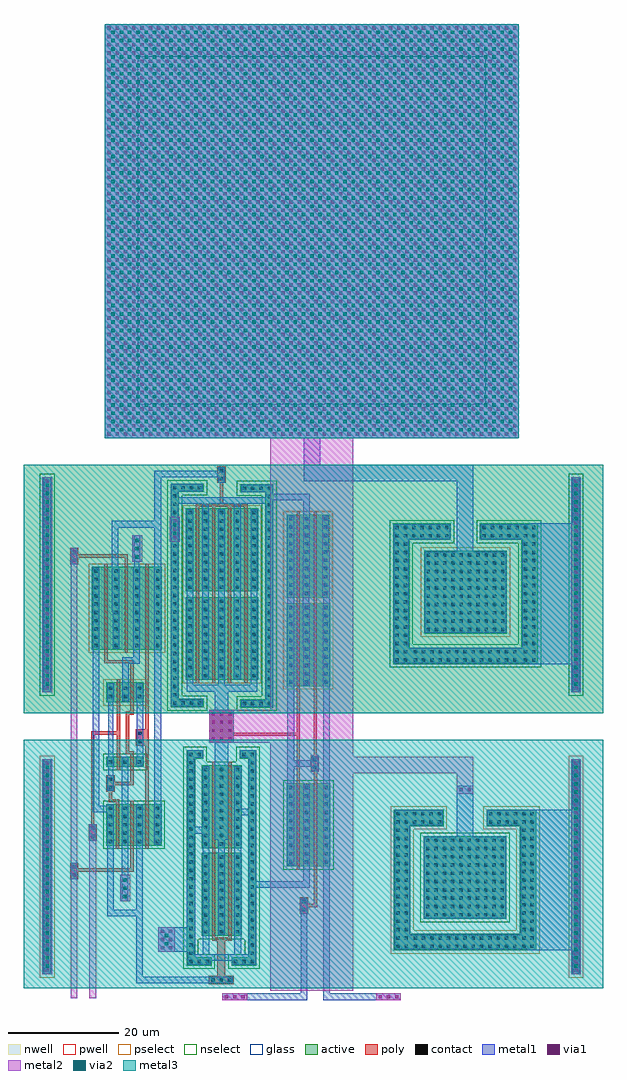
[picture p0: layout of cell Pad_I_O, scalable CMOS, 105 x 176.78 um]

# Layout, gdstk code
import gdstk
lib = gdstk.Library(unit=1e-6, precision=1e-09)
def R(c, l, rs):  # rectangles x0, y0, x1, y1
    for r in rs: c.add(gdstk.rectangle(r[:2], r[2:], *l))
def A(c, l, x, y, w, h, nx, ny, dx, dy):  # array of equal rectangles
    R(c, l, [(x+i*dx, y+j*dy, x+i*dx+w, y+j*dy+h) for i in range(nx) for j in range(ny)])
contact = (25, 0)
pwell = (41, 0)
nwell = (42, 0)
active = (43, 0)
pselect = (44, 0)
nselect = (45, 0)
poly = (46, 0)
metal1 = (49, 0)
via1 = (50, 0)
metal2 = (51, 0)
glass = (52, 0)
via2 = (61, 0)
metal3 = (62, 0)

nact_pwell_diode = lib.new_cell('Nact_PWell_diode')
A(nact_pwell_diode, contact, -12.45, -12.825, 0.6, 0.6, 1, 16, 0, 1.5)
A(nact_pwell_diode, contact, -10.95, -12.825, 0.6, 0.6, 1, 16, 0, 1.5)
A(nact_pwell_diode, contact, -9.3, -12.825, 0.6, 0.6, 13, 2, 1.5, 1.5)
A(nact_pwell_diode, contact, 10.35, -12.825, 0.6, 0.6, 1, 17, 0, 1.5)
A(nact_pwell_diode, contact, 11.85, -12.825, 0.6, 0.6, 1, 16, 0, 1.5)
A(nact_pwell_diode, contact, -7.05, -7.125, 0.6, 0.6, 10, 10, 1.5, 1.5)
A(nact_pwell_diode, contact, -10.95, 9.675, 0.6, 0.6, 5, 1, 1.5, 0)
A(nact_pwell_diode, contact, 4.35, 9.675, 0.6, 0.6, 5, 2, 1.5, 1.5)
A(nact_pwell_diode, contact, -12.45, 11.175, 0.6, 0.6, 6, 1, 1.5, 0)
R(nact_pwell_diode, contact, [(-12.45,9.675,-11.85,10.275), (11.85,9.675,12.45,10.275), (11.85,11.175,12.45,11.775), (11.85,11.175,12.45,11.775)])
R(nact_pwell_diode, pwell, [(-13.8,-14.175,-9,11.625), (-11.1,-14.175,11.1,-9.375), (9,-14.175,13.8,13.125), (-9.3,-9.375,9.3,9.225), (-13.8,8.325,-3,13.125), (3,8.325,13.8,13.125)])
R(nact_pwell_diode, active, [(-12.9,-13.275,-9.9,10.725), (-10.2,-13.275,10.2,-10.275), (9.9,-13.275,12.9,12.225), (-7.5,-7.575,7.5,7.425), (-12.9,9.225,-3.9,12.225), (3.9,9.225,12.9,12.225)])
R(nact_pwell_diode, pselect, [(-13.5,-13.875,-9.3,11.325), (-10.8,-13.875,10.8,-9.675), (9.3,-13.875,13.5,12.825), (-13.5,8.625,-3.3,12.825), (3.3,8.625,13.5,12.825)])
R(nact_pwell_diode, nselect, [(-8.1,-8.175,8.1,8.025)])
R(nact_pwell_diode, metal1, [(-12.75,-13.125,-10.05,10.575), (-10.05,-13.125,10.05,-10.425), (10.05,-13.125,12.75,12.075), (-11.85,-11.85,0.45,-10.95), (-0.45,-11.7,11.85,-10.8), (-7.35,-7.425,7.35,7.275), (-1.5,-0.075,1.5,15.825), (-12.75,9.375,-4.05,12.075), (-11.55,9.375,-10.65,10.275), (4.05,9.375,12.75,12.075), (10.95,9.375,11.85,10.275), (-1.5,15.075,1.5,16.575), (-0.45,15.375,0.45,16.275)])
R(nact_pwell_diode, via1, [(-1.05,15.525,-0.45,16.125), (0.45,15.525,1.05,16.125)])
R(nact_pwell_diode, metal2, [(-1.5,15.075,1.5,16.575), (-0.45,15.375,0.45,16.275)])

pact_nwell_diode = lib.new_cell('Pact_Nwell_diode')
A(pact_nwell_diode, contact, -12.3, -12.75, 0.6, 0.6, 1, 16, 0, 1.5)
A(pact_nwell_diode, contact, -10.8, -12.75, 0.6, 0.6, 1, 17, 0, 1.5)
A(pact_nwell_diode, contact, -9, -12.75, 0.6, 0.6, 13, 2, 1.5, 1.5)
A(pact_nwell_diode, contact, 10.95, -12.75, 0.6, 0.6, 1, 17, 0, 1.5)
A(pact_nwell_diode, contact, 12.45, -12.75, 0.6, 0.6, 1, 16, 0, 1.5)
A(pact_nwell_diode, contact, -6.675, -7.2, 0.6, 0.6, 10, 10, 1.5, 1.5)
A(pact_nwell_diode, contact, -10.8, 9.75, 0.6, 0.6, 6, 2, 1.5, 1.5)
A(pact_nwell_diode, contact, 3.45, 9.75, 0.6, 0.6, 6, 2, 1.5, 1.5)
R(pact_nwell_diode, contact, [(-12.3,9.75,-11.7,10.35), (12.45,9.75,13.05,10.35), (-12.3,11.25,-11.7,11.85), (-12.3,11.25,-11.7,11.85), (12.45,11.25,13.05,11.85), (12.45,11.25,13.05,11.85)])
R(pact_nwell_diode, nwell, [(-13.65,-14.1,-8.85,13.2), (-10.8,-14.1,11.4,-9.3), (9.6,-14.1,14.4,13.2), (-8.925,-9.45,9.675,9.15), (-13.65,8.4,-1.35,13.2), (2.1,8.4,14.4,13.2)])
R(pact_nwell_diode, active, [(-12.75,-13.2,-9.75,12.3), (-9.9,-13.2,10.5,-10.2), (10.5,-13.2,13.5,12.3), (-7.125,-7.65,7.875,7.35), (-12.75,9.3,-2.25,12.3), (3,9.3,13.5,12.3)])
R(pact_nwell_diode, pselect, [(-7.725,-8.25,8.475,7.95)])
R(pact_nwell_diode, nselect, [(-13.35,-13.8,-9.15,12.9), (-10.5,-13.8,11.1,-9.6), (9.9,-13.8,14.1,12.9), (-13.35,8.7,-1.65,12.9), (2.4,8.7,14.1,12.9)])
R(pact_nwell_diode, metal1, [(-12.6,-13.05,-9.9,12.15), (-11.25,-13.05,0.225,-10.35), (-9.75,-13.05,10.35,-10.35), (0.225,-13.05,12,-10.35), (10.65,-13.05,13.35,12.15), (-6.975,-7.5,7.725,7.2), (-1.2,-0.15,1.8,13.95), (-12.6,9.45,-2.4,12.15), (-11.7,9.45,-10.8,10.35), (3.15,9.45,13.35,12.15), (11.55,9.45,12.45,10.35)])

vdd_gnd_bus = lib.new_cell('Vdd_Gnd_bus')
A(vdd_gnd_bus, contact, -47.625, -43.425, 0.6, 0.6, 1, 26, 0, 1.5)
A(vdd_gnd_bus, contact, 48.15, -43.425, 0.6, 0.6, 1, 26, 0, 1.5)
A(vdd_gnd_bus, contact, -47.625, 7.65, 0.6, 0.6, 1, 26, 0, 1.5)
A(vdd_gnd_bus, contact, 48.15, 7.65, 0.6, 0.6, 1, 26, 0, 1.5)
R(vdd_gnd_bus, pwell, [(-51.6,-46.425,53.4,-1.425), (-48.975,-44.775,-45.675,-3.975), (46.8,-44.775,50.1,-3.975)])
R(vdd_gnd_bus, nwell, [(-51.6,3.45,53.4,48.45), (-48.975,6.3,-45.675,47.1), (46.8,6.3,50.1,47.1)])
R(vdd_gnd_bus, active, [(-48.075,-43.875,-46.575,-4.875), (47.7,-43.875,49.2,-4.875), (-48.075,7.2,-46.575,46.2), (47.7,7.2,49.2,46.2)])
R(vdd_gnd_bus, pselect, [(-48.675,-44.475,-45.975,-4.275), (47.1,-44.475,49.8,-4.275)])
R(vdd_gnd_bus, nselect, [(-48.675,6.6,-45.975,46.8), (47.1,6.6,49.8,46.8)])
R(vdd_gnd_bus, metal1, [(-47.925,-43.875,-46.725,-4.875), (47.85,-43.875,49.05,-4.875), (-47.925,-43.725,-46.725,-5.025), (47.85,-43.725,49.05,-5.025), (47.85,-23.475,48.9,-22.575), (-47.7,-16.125,-46.8,-15.225), (-47.925,7.2,-46.725,46.2), (47.85,7.2,49.05,46.2), (-47.925,7.35,-46.725,46.05), (47.85,7.35,49.05,46.05), (47.85,27.15,48.9,28.05), (-47.925,29.55,-46.575,30.45)])
A(vdd_gnd_bus, via1, -47.625, -43.425, 0.6, 0.6, 1, 26, 0, 1.5)
A(vdd_gnd_bus, via1, 48.15, -43.425, 0.6, 0.6, 1, 26, 0, 1.5)
A(vdd_gnd_bus, via1, -47.625, 7.65, 0.6, 0.6, 1, 26, 0, 1.5)
A(vdd_gnd_bus, via1, 48.15, 7.65, 0.6, 0.6, 1, 26, 0, 1.5)
R(vdd_gnd_bus, metal2, [(-48.225,-43.875,-46.425,-4.875), (-47.925,-43.875,-46.725,-4.875), (47.55,-43.875,49.35,-4.875), (47.85,-43.875,49.05,-4.875), (48,-24.975,48.9,-24.075), (-47.7,-20.475,-46.8,-19.575), (-48.225,7.2,-46.425,46.2), (-47.925,7.2,-46.725,46.2), (47.55,7.2,49.35,46.2), (47.85,7.2,49.05,46.2), (48.15,34.65,49.05,35.55), (-47.625,39.15,-46.725,40.05)])
A(vdd_gnd_bus, via2, -47.625, -42.675, 0.6, 0.6, 1, 25, 0, 1.5)
A(vdd_gnd_bus, via2, 48.15, -42.675, 0.6, 0.6, 1, 25, 0, 1.5)
A(vdd_gnd_bus, via2, -47.625, 8.4, 0.6, 0.6, 1, 25, 0, 1.5)
A(vdd_gnd_bus, via2, 48.15, 8.4, 0.6, 0.6, 1, 25, 0, 1.5)
R(vdd_gnd_bus, metal3, [(-51.6,-46.425,53.4,-1.425), (-48.225,-43.875,-46.425,-4.875), (47.55,-43.875,49.35,-4.875), (45.9,-25.275,49.2,-23.775), (-48,-20.775,-43.5,-19.275), (-51.6,3.45,53.4,48.45), (-48.225,7.2,-46.425,46.2), (47.55,7.2,49.35,46.2), (-47.925,34.425,-43.65,35.925), (39.6,37.95,49.2,39.45)])

pad_analog = lib.new_cell('Pad_Analog')
R(pad_analog, metal1, [(39.75,-131.475,48.45,-105.975), (47.85,-119.175,49.05,-117.975), (40.05,-79.65,48.45,-54.15), (47.85,-68.1,49.05,-65.4), (26.85,-54,29.85,-43.5), (-0.9,-46.5,29.85,-43.5), (-0.9,-46.5,2.1,0.3), (-36.9,-38.7,38.1,36.3), (2.85,-1.65,3.75,-0.75), (2.85,-1.65,6.45,-0.75)])
A(pad_analog, via1, -36.45, -38.25, 0.6, 0.6, 50, 50, 1.5, 1.5)
R(pad_analog, via1, [(48.15,-118.875,48.75,-118.275), (48.15,-67.8,48.75,-67.2), (48.15,-66.3,48.75,-65.7)])
R(pad_analog, metal2, [(-6.9,-138.825,8.1,-1.2), (47.85,-119.175,49.05,-117.975), (48,-119.175,48.9,-115.875), (26.85,-102.375,29.85,-97.95), (-0.9,-99.45,29.85,-96.45), (-0.9,-99.45,2.1,0.3), (47.85,-68.1,49.05,-65.4), (48,-67.35,48.9,-64.8), (-36.9,-38.7,38.1,36.3), (-36.9,-38.7,38.1,36.3), (5.55,-1.65,6.9,-0.75)])
R(pad_analog, glass, [(-30.9,-32.55,32.1,30.45)])
A(pad_analog, via2, -35.7, -37.5, 0.6, 0.6, 49, 49, 1.5, 1.5)
R(pad_analog, metal3, [(-36.9,-38.7,38.1,36.3)])
pad_analog.add(gdstk.Reference(nact_pwell_diode, (28.35,-118.2)))
pad_analog.add(gdstk.Reference(pact_nwell_diode, (28.05,-66.45)))
pad_analog.add(gdstk.Reference(vdd_gnd_bus, (0,-91.95)))

pad_i_o = lib.new_cell('Pad_I_O')
A(pad_i_o, contact, -16.425, -81.9, 0.6, 0.6, 3, 1, 1.5, 0)
A(pad_i_o, contact, -20.4, -78.525, 0.6, 0.6, 1, 26, 0, 1.5)
A(pad_i_o, contact, -20.4, -78.525, 0.6, 0.6, 3, 1, 1.5, 0)
A(pad_i_o, contact, -12.3, -78.525, 0.6, 0.6, 3, 1, 1.5, 0)
A(pad_i_o, contact, -9.3, -78.525, 0.6, 0.6, 1, 26, 0, 1.5)
A(pad_i_o, contact, -17.7, -73.125, 0.6, 0.6, 1, 10, 0, 1.5)
A(pad_i_o, contact, -14.85, -73.125, 0.6, 0.6, 1, 10, 0, 1.5)
A(pad_i_o, contact, -11.925, -73.125, 0.6, 0.6, 1, 10, 0, 1.5)
A(pad_i_o, contact, -2.325, -60.525, 0.6, 0.6, 1, 10, 0, 1.5)
A(pad_i_o, contact, 0.525, -60.525, 0.6, 0.6, 1, 10, 0, 1.5)
A(pad_i_o, contact, 4.125, -60.525, 0.6, 0.6, 1, 10, 0, 1.5)
A(pad_i_o, contact, -17.7, -57.225, 0.6, 0.6, 1, 10, 0, 1.5)
A(pad_i_o, contact, -14.85, -57.225, 0.6, 0.6, 1, 10, 0, 1.5)
A(pad_i_o, contact, -11.925, -57.225, 0.6, 0.6, 1, 10, 0, 1.5)
A(pad_i_o, contact, -34.95, -56.775, 0.6, 0.6, 3, 5, 2.625, 1.5)
A(pad_i_o, contact, -26.475, -56.775, 0.6, 0.6, 1, 5, 0, 1.5)
A(pad_i_o, contact, -34.95, -42.375, 0.6, 0.6, 3, 1, 2.625, 0)
A(pad_i_o, contact, -16.35, -38.175, 0.6, 0.6, 3, 4, 1.5, 1.5)
A(pad_i_o, contact, -10.725, -31.8, 0.6, 0.6, 4, 2, 1.5, 39)
A(pad_i_o, contact, -6.225, -31.8, 0.6, 0.6, 1, 27, 0, 1.5)
A(pad_i_o, contact, -23.325, -31.725, 0.6, 0.6, 1, 14, 0, 1.5)
A(pad_i_o, contact, -23.325, -31.725, 0.6, 0.6, 4, 2, 1.5, 39)
A(pad_i_o, contact, -2.325, -27.9, 0.6, 0.6, 1, 10, 0, 1.5)
A(pad_i_o, contact, 0.525, -27.9, 0.6, 0.6, 1, 10, 0, 1.5)
A(pad_i_o, contact, 4.05, -27.9, 0.6, 0.6, 1, 10, 0, 1.5)
A(pad_i_o, contact, -20.55, -26.775, 0.6, 0.6, 1, 10, 0, 1.5)
A(pad_i_o, contact, -17.775, -26.775, 0.6, 0.6, 1, 10, 0, 1.5)
A(pad_i_o, contact, -14.85, -26.775, 0.6, 0.6, 1, 10, 0, 1.5)
A(pad_i_o, contact, -12, -26.775, 0.6, 0.6, 1, 10, 0, 1.5)
A(pad_i_o, contact, -9, -26.775, 0.6, 0.6, 1, 10, 0, 1.5)
A(pad_i_o, contact, -37.575, -21.3, 0.6, 0.6, 1, 10, 0, 1.5)
A(pad_i_o, contact, -33.975, -21.3, 0.6, 0.6, 1, 10, 0, 1.5)
A(pad_i_o, contact, -30.225, -21.3, 0.6, 0.6, 1, 10, 0, 1.5)
A(pad_i_o, contact, -26.4, -21.3, 0.6, 0.6, 1, 10, 0, 1.5)
A(pad_i_o, contact, -2.325, -11.85, 0.6, 0.6, 1, 10, 0, 1.5)
A(pad_i_o, contact, 0.525, -11.85, 0.6, 0.6, 1, 10, 0, 1.5)
A(pad_i_o, contact, 3.975, -11.85, 0.6, 0.6, 1, 10, 0, 1.5)
A(pad_i_o, contact, -23.325, -10.725, 0.6, 0.6, 3, 10, 2.775, 1.5)
A(pad_i_o, contact, -14.85, -10.725, 0.6, 0.6, 1, 10, 0, 1.5)
A(pad_i_o, contact, -12, -10.725, 0.6, 0.6, 1, 10, 0, 1.5)
A(pad_i_o, contact, -9, -10.725, 0.6, 0.6, 1, 10, 0, 1.5)
A(pad_i_o, contact, -23.325, 4.275, 0.6, 0.6, 1, 3, 0, 1.5)
R(pad_i_o, contact, [(0.075,-69.15,0.675,-68.55), (0.075,-67.65,0.675,-67.05), (-41.55,-62.85,-40.95,-62.25), (-41.55,-61.35,-40.95,-60.75), (-38.175,-55.875,-37.575,-55.275), (-38.175,-54.375,-37.575,-53.775), (-34.95,-47.025,-34.35,-46.425), (-34.95,-45.525,-34.35,-44.925), (2.025,-43.425,2.625,-42.825), (2.025,-41.925,2.625,-41.325), (-20.4,-41.025,-19.8,-40.425), (-18.9,-41.025,-18.3,-40.425), (-10.8,-41.025,-10.2,-40.425), (-9.3,-41.025,-8.7,-40.425), (-29.625,-38.7,-29.025,-38.1), (-29.625,-37.2,-29.025,-36.6), (-34.95,-30.525,-34.35,-29.925), (-32.25,-30.525,-31.65,-29.925), (-29.7,-30.525,-29.1,-29.925), (-34.95,-29.025,-34.35,-28.425), (-32.25,-29.025,-31.65,-28.425), (-29.7,-29.025,-29.1,-28.425), (-41.55,-5.85,-40.95,-5.25), (-41.55,-4.35,-40.95,-3.75), (-14.85,8.925,-14.25,9.525), (-14.85,10.425,-14.25,11.025)])
A(pad_i_o, pwell, -37.2, -59.025, 5.1, 11.1, 3, 1, 2.625, 0)
A(pad_i_o, pwell, -37.2, -44.775, 5.1, 5.4, 3, 1, 2.625, 0)
R(pad_i_o, pwell, [(-22.65,-80.775,-17.55,-38.175), (-22.65,-80.775,-14.55,-75.675), (-14.55,-80.775,-6.45,-75.675), (-11.55,-80.775,-6.45,-38.175), (-19.95,-75.375,-14.85,-56.775), (-18.975,-75.375,-12.975,-56.775), (-17.1,-75.375,-12,-56.775), (-16.05,-75.375,-10.05,-56.775), (-14.175,-75.375,-9.075,-56.775), (-16.8,-72.525,-11.85,-68.025), (-19.8,-72.375,-14.85,-67.875), (-17.1,-71.175,-12.15,-66.675), (-14.175,-71.175,-9.225,-66.675), (-4.575,-62.775,0.525,-44.175), (-3.675,-62.775,2.325,-44.175), (-1.725,-62.775,3.375,-44.175), (-0.525,-62.775,5.475,-44.175), (1.875,-62.775,6.975,-44.175), (-19.95,-59.475,-14.85,-40.875), (-18.975,-59.475,-12.975,-40.875), (-17.1,-59.475,-12,-40.875), (-16.05,-59.475,-10.05,-40.875), (-14.175,-59.475,-9.075,-40.875), (-36.375,-59.025,-30.375,-47.925), (-33.75,-59.025,-27.75,-47.925), (-31.05,-59.025,-25.05,-47.925), (-28.725,-59.025,-23.625,-47.925), (-31.875,-57.975,-27,-53.475), (-29.25,-57.975,-23.85,-53.475), (-34.575,-57.6,-29.775,-53.1), (-37.05,-57.45,-32.25,-52.95), (-34.425,-57.45,-29.625,-52.95), (-16.8,-56.7,-11.85,-52.2), (-19.8,-56.475,-14.85,-51.975), (-31.65,-56.4,-27,-51.9), (-17.1,-55.275,-12.15,-50.775), (-14.175,-55.275,-9.225,-50.775), (-1.425,-55.2,3.6,-50.7), (-4.425,-54.975,0.525,-50.475), (-1.725,-53.775,3.225,-49.275), (1.35,-53.775,6.525,-49.275), (-36.225,-44.775,-30.225,-39.375), (-33.75,-44.775,-27.75,-39.375), (-36.9,-44.025,-32.1,-39.525), (-34.35,-44.025,-29.625,-39.525), (-34.2,-44.025,-29.625,-39.525), (-31.95,-44.025,-27.15,-39.525), (-22.65,-43.275,-16.05,-38.175), (-13.05,-43.275,-6.45,-38.175)])
R(pad_i_o, nwell, [(-12.075,-33.15,-4.275,-29.85), (-7.575,-33.15,-4.275,9.15), (-37.2,-33.075,-32.1,-25.875), (-36.225,-33.075,-30.225,-25.875), (-34.5,-33.075,-29.4,-25.875), (-33.75,-33.075,-27.75,-25.875), (-31.95,-33.075,-26.85,-25.875), (-24.675,-33.075,-21.375,9.225), (-24.675,-33.075,-16.875,-29.775), (-31.95,-31.575,-27.15,-27.075), (-34.2,-31.5,-29.625,-27), (-36.9,-31.2,-32.1,-26.7), (-34.35,-31.05,-29.7,-26.55), (-4.575,-30.15,0.525,-11.55), (-3.675,-30.15,2.325,-11.55), (-1.725,-30.15,3.375,-11.55), (-0.6,-30.15,5.4,-11.55), (1.8,-30.15,6.9,-11.55), (-22.8,-29.025,-17.7,-10.425), (-21.9,-29.025,-15.9,-10.425), (-20.025,-29.025,-14.925,-10.425), (-18.975,-29.025,-12.975,-10.425), (-17.1,-29.025,-12,-10.425), (-16.125,-29.025,-10.125,-10.425), (-14.25,-29.025,-9.15,-10.425), (-13.125,-29.025,-7.125,-10.425), (-11.25,-29.025,-6.15,-10.425), (-39.825,-23.55,-34.725,-4.95), (-38.475,-23.55,-32.475,-4.95), (-36.225,-23.55,-31.125,-4.95), (-34.8,-23.55,-28.8,-4.95), (-32.475,-23.55,-27.375,-4.95), (-31.05,-23.55,-25.05,-4.95), (-28.65,-23.55,-23.55,-4.95), (1.35,-22.5,6.675,-18), (-4.425,-21.75,0.45,-17.25), (-1.5,-21.15,3.6,-16.65), (-22.65,-20.625,-17.775,-16.125), (-33,-20.475,-27.825,-15.975), (-19.725,-20.025,-14.775,-15.525), (-1.8,-19.95,3.15,-15.45), (-16.8,-19.725,-11.925,-15.225), (-13.95,-19.575,-8.925,-15.075), (-20.025,-18.825,-15.075,-14.325), (-17.1,-18.825,-12.15,-14.325), (-14.25,-18.825,-9.3,-14.325), (-11.25,-18.825,-6.3,-14.325), (-39.525,-17.4,-34.425,-12.9), (-36.075,-17.4,-30.75,-12.9), (-36.675,-16.95,-31.575,-12.45), (-29.25,-16.05,-23.85,-11.55), (-32.325,-14.85,-27,-10.35), (-4.575,-14.1,0.525,4.5), (-3.675,-14.1,2.325,4.5), (-1.725,-14.1,3.375,4.5), (-0.6,-14.1,5.4,4.5), (1.725,-14.1,6.825,4.5), (-22.8,-12.975,-17.7,5.625), (-21.9,-12.975,-15.9,5.625), (-20.025,-12.975,-14.925,5.625), (-18.975,-12.975,-12.975,5.625), (-17.1,-12.975,-12,5.625), (-16.125,-12.975,-10.125,5.625), (-14.25,-12.975,-9.15,5.625), (-13.125,-12.975,-7.125,5.625), (-11.25,-12.975,-6.15,5.625), (-1.5,-6.525,3.6,-2.025), (1.35,-5.85,6.375,-1.35), (-4.425,-5.7,0.45,-1.2), (-16.8,-5.55,-11.925,-1.05), (-19.725,-5.4,-14.775,-0.9), (-22.65,-4.575,-17.775,-0.075), (-13.95,-3.975,-8.925,0.525), (-1.8,-3.9,3.15,0.6), (-20.025,-2.775,-15.075,1.725), (-17.1,-2.775,-12.15,1.725), (-14.25,-2.775,-9.3,1.725), (-11.25,-2.775,-6.3,1.725), (-12.075,5.85,-4.275,9.15), (-24.675,5.925,-16.875,9.225)])
A(pad_i_o, active, -35.4, -57.225, 1.5, 7.5, 3, 1, 2.625, 0)
A(pad_i_o, active, -35.4, -42.975, 1.5, 1.8, 3, 1, 2.625, 0)
R(pad_i_o, active, [(-20.85,-78.975,-19.35,-39.975), (-20.85,-78.975,-16.35,-77.475), (-12.75,-78.975,-8.25,-77.475), (-9.75,-78.975,-8.25,-39.975), (-18.15,-73.575,-16.65,-58.575), (-17.175,-73.575,-14.775,-58.575), (-15.3,-73.575,-13.8,-58.575), (-14.25,-73.575,-11.85,-58.575), (-12.375,-73.575,-10.875,-58.575), (-15,-70.725,-13.65,-69.825), (-18,-70.575,-16.65,-69.675), (-15.3,-69.375,-13.95,-68.475), (-12.375,-69.375,-11.025,-68.475), (-2.775,-60.975,-1.275,-45.975), (-1.875,-60.975,0.525,-45.975), (0.075,-60.975,1.575,-45.975), (1.275,-60.975,3.675,-45.975), (3.675,-60.975,5.175,-45.975), (-18.15,-57.675,-16.65,-42.675), (-17.175,-57.675,-14.775,-42.675), (-15.3,-57.675,-13.8,-42.675), (-14.25,-57.675,-11.85,-42.675), (-12.375,-57.675,-10.875,-42.675), (-34.575,-57.225,-32.175,-49.725), (-31.95,-57.225,-29.55,-49.725), (-29.25,-57.225,-26.85,-49.725), (-26.925,-57.225,-25.425,-49.725), (-30.075,-56.175,-28.8,-55.275), (-27.45,-56.175,-25.65,-55.275), (-32.775,-55.8,-31.575,-54.9), (-35.25,-55.65,-34.05,-54.75), (-32.625,-55.65,-31.425,-54.75), (-15,-54.9,-13.65,-54), (-18,-54.675,-16.65,-53.775), (-29.85,-54.6,-28.8,-53.7), (-15.3,-53.475,-13.95,-52.575), (-12.375,-53.475,-11.025,-52.575), (0.375,-53.4,1.8,-52.5), (-2.625,-53.175,-1.275,-52.275), (0.075,-51.975,1.425,-51.075), (3.15,-51.975,4.725,-51.075), (-34.425,-42.975,-32.025,-41.175), (-31.95,-42.975,-29.55,-41.175), (-35.1,-42.225,-33.9,-41.325), (-32.55,-42.225,-31.425,-41.325), (-32.4,-42.225,-31.425,-41.325), (-30.15,-42.225,-28.95,-41.325), (-20.85,-41.475,-17.85,-39.975), (-11.25,-41.475,-8.25,-39.975), (-11.175,-32.25,-5.175,-30.75), (-6.675,-32.25,-5.175,8.25), (-23.775,-32.175,-22.275,8.325), (-23.775,-32.175,-17.775,-30.675), (-35.4,-31.275,-33.9,-27.675), (-34.425,-31.275,-32.025,-27.675), (-32.7,-31.275,-31.2,-27.675), (-31.95,-31.275,-29.55,-27.675), (-30.15,-31.275,-28.65,-27.675), (-30.15,-29.775,-28.95,-28.875), (-32.4,-29.7,-31.425,-28.8), (-35.1,-29.4,-33.9,-28.5), (-32.55,-29.25,-31.5,-28.35), (-2.775,-28.35,-1.275,-13.35), (-1.875,-28.35,0.525,-13.35), (0.075,-28.35,1.575,-13.35), (1.2,-28.35,3.6,-13.35), (3.6,-28.35,5.1,-13.35), (-21,-27.225,-19.5,-12.225), (-20.1,-27.225,-17.7,-12.225), (-18.225,-27.225,-16.725,-12.225), (-17.175,-27.225,-14.775,-12.225), (-15.3,-27.225,-13.8,-12.225), (-14.325,-27.225,-11.925,-12.225), (-12.45,-27.225,-10.95,-12.225), (-11.325,-27.225,-8.925,-12.225), (-9.45,-27.225,-7.95,-12.225), (-38.025,-21.75,-36.525,-6.75), (-36.675,-21.75,-34.275,-6.75), (-34.425,-21.75,-32.925,-6.75), (-33,-21.75,-30.6,-6.75), (-30.675,-21.75,-29.175,-6.75), (-29.25,-21.75,-26.85,-6.75), (-26.85,-21.75,-25.35,-6.75), (3.15,-20.7,4.875,-19.8), (-2.625,-19.95,-1.35,-19.05), (0.3,-19.35,1.8,-18.45), (-20.85,-18.825,-19.575,-17.925), (-31.2,-18.675,-29.625,-17.775), (-17.925,-18.225,-16.575,-17.325), (0,-18.15,1.35,-17.25), (-15,-17.925,-13.725,-17.025), (-12.15,-17.775,-10.725,-16.875), (-18.225,-17.025,-16.875,-16.125), (-15.3,-17.025,-13.95,-16.125), (-12.45,-17.025,-11.1,-16.125), (-9.45,-17.025,-8.1,-16.125), (-37.725,-15.6,-36.225,-14.7), (-34.275,-15.6,-32.55,-14.7), (-34.875,-15.15,-33.375,-14.25), (-27.45,-14.25,-25.65,-13.35), (-30.525,-13.05,-28.8,-12.15), (-2.775,-12.3,-1.275,2.7), (-1.875,-12.3,0.525,2.7), (0.075,-12.3,1.575,2.7), (1.2,-12.3,3.6,2.7), (3.525,-12.3,5.025,2.7), (-21,-11.175,-19.5,3.825), (-20.1,-11.175,-17.7,3.825), (-18.225,-11.175,-16.725,3.825), (-17.175,-11.175,-14.775,3.825), (-15.3,-11.175,-13.8,3.825), (-14.325,-11.175,-11.925,3.825), (-12.45,-11.175,-10.95,3.825), (-11.325,-11.175,-8.925,3.825), (-9.45,-11.175,-7.95,3.825), (0.3,-4.725,1.8,-3.825), (3.15,-4.05,4.575,-3.15), (-2.625,-3.9,-1.35,-3), (-15,-3.75,-13.725,-2.85), (-17.925,-3.6,-16.575,-2.7), (-20.85,-2.775,-19.575,-1.875), (-12.15,-2.175,-10.725,-1.275), (0,-2.1,1.35,-1.2), (-18.225,-0.975,-16.875,-0.075), (-15.3,-0.975,-13.95,-0.075), (-12.45,-0.975,-11.1,-0.075), (-9.45,-0.975,-8.1,-0.075), (-11.175,6.75,-5.175,8.25), (-23.775,6.825,-17.775,8.325)])
R(pad_i_o, pselect, [(-36,-31.875,-33.3,-27.075), (-35.025,-31.875,-31.425,-27.075), (-33.3,-31.875,-30.6,-27.075), (-32.55,-31.875,-28.95,-27.075), (-30.75,-31.875,-28.05,-27.075), (-30.75,-30.375,-28.35,-28.275), (-33,-30.3,-30.825,-28.2), (-35.7,-30,-33.3,-27.9), (-33.15,-29.85,-30.9,-27.75), (-3.375,-28.95,-0.675,-12.75), (-2.475,-28.95,1.125,-12.75), (-0.525,-28.95,2.175,-12.75), (0.6,-28.95,4.2,-12.75), (3,-28.95,5.7,-12.75), (-21.6,-27.825,-18.9,-11.625), (-20.7,-27.825,-17.1,-11.625), (-18.825,-27.825,-16.125,-11.625), (-17.775,-27.825,-14.175,-11.625), (-15.9,-27.825,-13.2,-11.625), (-14.925,-27.825,-11.325,-11.625), (-13.05,-27.825,-10.35,-11.625), (-11.925,-27.825,-8.325,-11.625), (-10.05,-27.825,-7.35,-11.625), (-38.625,-22.35,-35.925,-6.15), (-37.275,-22.35,-33.675,-6.15), (-35.025,-22.35,-32.325,-6.15), (-33.6,-22.35,-30,-6.15), (-31.275,-22.35,-28.575,-6.15), (-29.85,-22.35,-26.25,-6.15), (-27.45,-22.35,-24.75,-6.15), (2.55,-21.3,5.475,-19.2), (-3.225,-20.55,-0.75,-18.45), (-0.3,-19.95,2.4,-17.85), (-21.45,-19.425,-18.975,-17.325), (-31.8,-19.275,-29.025,-17.175), (-18.525,-18.825,-15.975,-16.725), (-0.6,-18.75,1.95,-16.65), (-15.6,-18.525,-13.125,-16.425), (-12.75,-18.375,-10.125,-16.275), (-18.825,-17.625,-16.275,-15.525), (-15.9,-17.625,-13.35,-15.525), (-13.05,-17.625,-10.5,-15.525), (-10.05,-17.625,-7.5,-15.525), (-38.325,-16.2,-35.625,-14.1), (-34.875,-16.2,-31.95,-14.1), (-35.475,-15.75,-32.775,-13.65), (-28.05,-14.85,-25.05,-12.75), (-31.125,-13.65,-28.2,-11.55), (-3.375,-12.9,-0.675,3.3), (-2.475,-12.9,1.125,3.3), (-0.525,-12.9,2.175,3.3), (0.6,-12.9,4.2,3.3), (2.925,-12.9,5.625,3.3), (-21.6,-11.775,-18.9,4.425), (-20.7,-11.775,-17.1,4.425), (-18.825,-11.775,-16.125,4.425), (-17.775,-11.775,-14.175,4.425), (-15.9,-11.775,-13.2,4.425), (-14.925,-11.775,-11.325,4.425), (-13.05,-11.775,-10.35,4.425), (-11.925,-11.775,-8.325,4.425), (-10.05,-11.775,-7.35,4.425), (-0.3,-5.325,2.4,-3.225), (2.55,-4.65,5.175,-2.55), (-3.225,-4.5,-0.75,-2.4), (-15.6,-4.35,-13.125,-2.25), (-18.525,-4.2,-15.975,-2.1), (-21.45,-3.375,-18.975,-1.275), (-12.75,-2.775,-10.125,-0.675), (-0.6,-2.7,1.95,-0.6), (-18.825,-1.575,-16.275,0.525), (-15.9,-1.575,-13.35,0.525), (-13.05,-1.575,-10.5,0.525), (-10.05,-1.575,-7.5,0.525)])
A(pad_i_o, nselect, -36, -57.825, 2.7, 8.7, 3, 1, 2.625, 0)
A(pad_i_o, nselect, -36, -43.575, 2.7, 3, 3, 1, 2.625, 0)
R(pad_i_o, nselect, [(-21.45,-79.575,-18.75,-39.375), (-21.45,-79.575,-15.75,-76.875), (-13.35,-79.575,-7.65,-76.875), (-10.35,-79.575,-7.65,-39.375), (-18.75,-74.175,-16.05,-57.975), (-17.775,-74.175,-14.175,-57.975), (-15.9,-74.175,-13.2,-57.975), (-14.85,-74.175,-11.25,-57.975), (-12.975,-74.175,-10.275,-57.975), (-15.6,-71.325,-13.05,-69.225), (-18.6,-71.175,-16.05,-69.075), (-15.9,-69.975,-13.35,-67.875), (-12.975,-69.975,-10.425,-67.875), (-3.375,-61.575,-0.675,-45.375), (-2.475,-61.575,1.125,-45.375), (-0.525,-61.575,2.175,-45.375), (0.675,-61.575,4.275,-45.375), (3.075,-61.575,5.775,-45.375), (-18.75,-58.275,-16.05,-42.075), (-17.775,-58.275,-14.175,-42.075), (-15.9,-58.275,-13.2,-42.075), (-14.85,-58.275,-11.25,-42.075), (-12.975,-58.275,-10.275,-42.075), (-35.175,-57.825,-31.575,-49.125), (-32.55,-57.825,-28.95,-49.125), (-29.85,-57.825,-26.25,-49.125), (-27.525,-57.825,-24.825,-49.125), (-30.675,-56.775,-28.2,-54.675), (-28.05,-56.775,-25.05,-54.675), (-33.375,-56.4,-30.975,-54.3), (-35.85,-56.25,-33.45,-54.15), (-33.225,-56.25,-30.825,-54.15), (-15.6,-55.5,-13.05,-53.4), (-18.6,-55.275,-16.05,-53.175), (-30.45,-55.2,-28.2,-53.1), (-15.9,-54.075,-13.35,-51.975), (-12.975,-54.075,-10.425,-51.975), (-0.225,-54,2.4,-51.9), (-3.225,-53.775,-0.675,-51.675), (-0.525,-52.575,2.025,-50.475), (2.55,-52.575,5.325,-50.475), (-35.025,-43.575,-31.425,-40.575), (-32.55,-43.575,-28.95,-40.575), (-35.7,-42.825,-33.3,-40.725), (-33.15,-42.825,-30.825,-40.725), (-33,-42.825,-30.825,-40.725), (-30.75,-42.825,-28.35,-40.725), (-21.45,-42.075,-17.25,-39.375), (-11.85,-42.075,-7.65,-39.375), (-11.775,-32.85,-4.575,-30.15), (-7.275,-32.85,-4.575,8.85), (-24.375,-32.775,-21.675,8.925), (-24.375,-32.775,-17.175,-30.075), (-11.775,6.15,-4.575,8.85), (-24.375,6.225,-17.175,8.925)])
R(pad_i_o, poly, [(-16.875,-82.35,-12.375,-80.85), (-15.375,-81.6,-13.875,-74.175), (-16.275,-74.475,-12.75,-73.875), (-16.275,-74.475,-14.325,-73.875), (-16.275,-74.175,-15.675,-57.975), (-13.35,-74.175,-12.75,-57.975), (-0.375,-69.6,1.125,-66.6), (0.375,-68.4,2.475,-67.8), (2.175,-68.4,2.775,-61.275), (-42,-63.3,-40.5,-60.3), (-41.925,-62.4,-40.725,-61.05), (-41.625,-61.95,-30.45,-61.35), (-31.05,-61.95,-30.45,-57.525), (-0.975,-61.575,-0.375,-45.375), (2.175,-61.575,2.775,-45.375), (-16.275,-58.575,-15.675,-57.675), (-13.35,-58.575,-12.75,-57.675), (-16.275,-58.275,-15.675,-42.075), (-13.35,-58.275,-12.75,-42.075), (-33.675,-57.825,-33.075,-49.125), (-31.05,-57.825,-30.45,-49.125), (-28.35,-57.825,-27.75,-49.125), (-38.625,-56.325,-37.125,-53.325), (-38.175,-55.125,-37.575,-36.525), (-34.95,-49.425,-33.075,-48.825), (-34.95,-49.425,-34.35,-44.925), (-28.35,-49.425,-27.75,-37.35), (-35.4,-47.475,-33.9,-44.475), (-34.95,-46.275,-30.45,-45.675), (-31.05,-46.275,-30.45,-43.275), (-0.975,-45.675,-0.375,-36.75), (2.175,-45.675,2.775,-42.075), (1.575,-43.875,3.075,-40.875), (-33.525,-43.575,-32.925,-40.575), (-31.05,-43.575,-30.45,-40.575), (2.1,-42.675,2.7,-28.65), (-33.525,-40.875,-32.925,-36.525), (-31.05,-40.875,-30.45,-40.125), (-31.875,-40.725,-30.45,-40.125), (-31.875,-40.725,-31.275,-32.925), (-30.075,-39.15,-28.575,-36.15), (-29.175,-39.15,-28.05,-36.15), (-16.8,-38.625,-12.3,-32.625), (-28.35,-37.95,-27.75,-22.05), (-14.85,-37.35,-0.375,-36.75), (-0.975,-37.35,-0.375,-28.65), (-38.175,-37.125,-32.925,-36.525), (-33.525,-37.125,-32.925,-31.575), (-31.875,-33.525,-30.45,-32.925), (-31.05,-33.525,-30.45,-31.575), (-33.525,-31.875,-32.925,-27.075), (-31.05,-31.875,-30.45,-27.075), (-0.975,-28.95,-0.375,-12.75), (2.1,-28.95,2.7,-12.75), (-19.2,-27.825,-18.6,-11.625), (-16.275,-27.825,-15.675,-11.625), (-13.425,-27.825,-12.825,-11.625), (-10.425,-27.825,-9.825,-11.625), (-31.05,-27.375,-30.45,-23.625), (-35.775,-24.225,-35.175,-22.05), (-35.775,-24.225,-30.45,-23.625), (-35.775,-22.35,-35.175,-6.15), (-32.1,-22.35,-31.5,-6.15), (-28.35,-22.35,-27.75,-6.15), (-0.975,-13.2,-0.375,-12.45), (2.1,-13.2,2.7,-12.45), (-0.975,-12.9,-0.375,3.3), (2.1,-12.9,2.7,3.3), (-19.2,-12.075,-18.6,-11.325), (-16.275,-12.075,-15.675,-11.325), (-13.425,-12.075,-12.825,-11.325), (-10.425,-12.075,-9.825,-11.325), (-19.2,-11.775,-18.6,4.425), (-16.275,-11.775,-15.675,4.425), (-13.425,-11.775,-12.825,4.425), (-10.425,-11.775,-9.825,4.425), (-32.1,-6.45,-31.5,-4.5), (-42,-6.3,-40.5,-3.3), (-41.7,-6,-40.8,-4.35), (-41.55,-5.1,-31.5,-4.5), (-19.2,4.125,-15.675,4.725), (-16.275,4.125,-14.25,4.725), (-14.85,4.125,-12.825,4.725), (-14.85,4.125,-14.25,9.375), (-13.425,4.125,-9.825,4.725), (-15.3,8.475,-13.8,11.475)])
A(pad_i_o, metal1, -35.25, -57.075, 1.2, 7.2, 3, 1, 2.625, 0)
A(pad_i_o, metal1, -35.25, -42.825, 1.2, 1.5, 3, 1, 2.625, 0)
R(pad_i_o, metal1, [(-14.4,-85.2,-9.9,-84), (-10.95,-85.2,0.975,-84), (-0.225,-85.2,0.975,-67.5), (3.825,-85.2,5.025,-52.875), (3.825,-85.2,16.275,-84), (13.425,-85.2,17.925,-84), (-30,-82.2,-14.025,-81), (-30,-82.2,-28.8,-68.85), (-16.725,-82.2,-12.525,-81), (-20.7,-78.825,-19.5,-40.125), (-20.7,-78.825,-16.5,-77.625), (-12.6,-78.825,-8.4,-77.625), (-9.6,-78.825,-8.4,-40.125), (-20.1,-78.675,-16.95,-77.475), (-12.15,-78.675,-9,-77.475), (-20.7,-78.075,-16.8,-76.875), (-18,-78.075,-11.025,-76.875), (-18,-78.075,-16.8,-68.025), (-12.225,-78.075,-11.025,-68.025), (-12.225,-78.075,-8.4,-76.875), (-26.025,-76.5,-23.025,-72), (-24.525,-76.5,-20.1,-72), (-20.85,-75,-19.35,-63.525), (-18,-73.425,-16.8,-58.725), (-15.15,-73.425,-13.95,-58.725), (-12.225,-73.425,-11.025,-58.725), (-18,-71.475,-16.8,-54.375), (-15.15,-71.475,-13.95,-54.375), (-12.225,-71.475,-11.025,-54.375), (-35.25,-70.05,-34.05,-55.35), (-35.25,-70.05,-28.8,-68.85), (-30,-70.05,-28.8,-55.35), (-0.225,-69.45,0.975,-66.75), (-32.625,-67.35,-31.425,-62.55), (-32.625,-64.875,-31.425,-55.35), (-9.6,-64.875,1.425,-63.675), (0.225,-64.875,1.425,-52.875), (-41.85,-63.3,-40.65,-60.3), (-41.85,-63.15,-40.65,-60.45), (-41.325,-62.55,-41.25,-61.05), (-41.85,-62.475,-40.65,-61.2), (-2.625,-60.825,-1.425,-46.125), (0.225,-60.825,1.425,-46.125), (3.825,-60.825,5.025,-46.125), (-18,-57.525,-16.8,-42.825), (-15.15,-57.525,-13.95,-42.825), (-12.225,-57.525,-11.025,-42.825), (-26.775,-57.075,-25.575,-49.875), (-35.25,-56.55,-34.05,-53.325), (-32.625,-56.55,-31.425,-41.175), (-26.7,-56.55,-25.5,-13.65), (-38.475,-56.325,-37.275,-53.325), (-38.475,-56.175,-37.275,-53.475), (-15.75,-56.175,-13.35,-35.85), (-20.7,-55.05,-16.8,-53.85), (-2.625,-54.075,-1.425,-41.775), (3.825,-54.075,5.025,-20.25), (-11.625,-51.75,-9,-50.55), (-37.875,-51.225,-36.675,-14.025), (-37.875,-51.225,-34.05,-50.025), (-35.25,-47.325,-34.05,-44.625), (-35.1,-45.675,-34.2,-41.325), (1.725,-43.725,2.925,-41.025), (-2.625,-42.975,2.925,-41.775), (-2.625,-42.975,-1.425,-20.25), (-29.925,-42.375,-28.725,-37.05), (-35.1,-42.225,-34.2,-29.025), (-20.7,-41.325,-18,-40.125), (-11.1,-41.325,-8.4,-40.125), (-20.7,-41.175,-17.925,-39.975), (-11.175,-41.175,-8.4,-39.975), (-29.925,-39,-28.725,-36.3), (-16.8,-38.625,-12.3,-32.625), (-16.65,-38.475,-12.45,-32.775), (-29.925,-38.25,-28.725,-28.875), (-29.325,-38.25,-29.175,-37.05), (-15,-37.5,-14.1,-36.6), (-14.7,-37.5,-14.55,-36.6), (-15.75,-37.05,-13.35,-28.725), (-11.025,-32.1,-5.325,-30.9), (-6.525,-32.1,-5.325,8.1), (-23.625,-32.025,-22.425,8.175), (-23.625,-32.025,-17.925,-30.825), (-10.575,-31.95,-5.475,-31.05), (-23.475,-31.875,-17.925,-30.975), (-35.25,-31.125,-34.05,-27.825), (-32.55,-31.125,-31.35,-27.825), (-30,-31.125,-28.8,-27.825), (-32.55,-30.075,-31.35,-23.1), (-20.85,-29.325,-19.65,-19.125), (-20.85,-29.325,-13.95,-28.125), (-15.15,-29.325,-13.95,-19.125), (-15.15,-29.325,-8.1,-28.125), (-9.3,-29.325,-8.1,-19.125), (3.825,-28.35,5.025,-20.25), (-2.625,-28.2,-1.425,-13.5), (0.225,-28.2,1.425,-13.5), (3.75,-28.2,4.95,-13.5), (-20.85,-27.075,-19.65,-12.375), (-18.075,-27.075,-16.875,-12.375), (-15.15,-27.075,-13.95,-12.375), (-12.3,-27.075,-11.1,-12.375), (-9.3,-27.075,-8.1,-12.375), (-32.55,-24.3,-29.325,-23.1), (-30.525,-24.3,-29.325,-13.65), (-37.875,-21.6,-36.675,-6.9), (-34.275,-21.6,-33.075,-6.9), (-30.525,-21.6,-29.325,-6.9), (-26.7,-21.6,-25.5,-6.9), (-2.625,-21.45,-1.425,-4.2), (0.15,-21.45,1.35,-4.2), (3.825,-21.45,5.025,-4.125), (-20.85,-20.325,-19.65,-3.075), (-18.075,-20.325,-16.875,-3.075), (-15.15,-20.325,-13.95,-3.075), (-12.3,-20.325,-11.1,-3.075), (-9.3,-20.325,-8.1,-3.075), (-34.425,-14.85,-33.225,1.575), (-26.7,-14.85,-25.5,1.575), (-30.375,-14.7,-29.475,-4.2), (-23.55,-12.975,-22.65,7.875), (-6.3,-12.9,-5.4,8.1), (-23.475,-12.45,-22.575,5.7), (-6.375,-12.45,-5.475,5.7), (-6.375,-12.45,-5.475,6.375), (-2.625,-12.15,-1.425,2.55), (0.225,-12.15,1.425,2.55), (3.675,-12.15,4.875,2.55), (-20.85,-11.025,-19.65,3.675), (-18.075,-11.025,-16.875,3.675), (-15.15,-11.025,-13.95,3.675), (-12.3,-11.025,-11.1,3.675), (-9.3,-11.025,-8.1,3.675), (-41.85,-6.3,-40.65,-3.3), (-41.175,-6.3,-41.025,-4.8), (-41.85,-6.15,-40.65,-3.45), (-30.45,-5.85,-29.25,-1.05), (0.225,-5.4,1.425,6.525), (-18.075,-4.275,-16.875,5.85), (-12.3,-4.275,-11.1,5.85), (-23.625,-2.175,-22.425,2.325), (-34.425,0.375,-25.5,1.575), (-26.7,0.375,-25.5,10.65), (-23.55,0.75,-22.575,1.65), (-23.625,4.65,-16.875,5.85), (-18.075,4.65,-11.1,5.85), (-12.3,4.65,-5.325,5.85), (-6.525,5.325,1.425,6.525), (-11.025,6.9,-5.325,8.1), (-23.625,6.975,-17.925,8.175), (-8.625,7.05,-7.725,8.025), (-8.625,7.05,-7.725,8.1), (-15.15,8.475,-13.95,10.65), (-15.15,8.625,-13.95,11.325), (-26.7,9.45,-13.95,10.65)])
A(pad_i_o, via1, -13.95, -84.9, 0.6, 0.6, 3, 1, 1.5, 0)
A(pad_i_o, via1, 13.875, -84.9, 0.6, 0.6, 3, 1, 1.5, 0)
A(pad_i_o, via1, -25.575, -76.05, 0.6, 0.6, 1, 3, 0, 1.5)
A(pad_i_o, via1, -24.075, -76.05, 0.6, 0.6, 1, 3, 0, 1.5)
A(pad_i_o, via1, -32.325, -66.75, 0.6, 0.6, 1, 3, 0, 1.5)
A(pad_i_o, via1, -16.35, -38.175, 0.6, 0.6, 3, 4, 1.5, 1.5)
A(pad_i_o, via1, -30.15, -5.25, 0.6, 0.6, 1, 3, 0, 1.5)
A(pad_i_o, via1, -23.325, -1.725, 0.6, 0.6, 1, 3, 0, 1.5)
R(pad_i_o, via1, [(-41.55,-62.85,-40.95,-62.25), (-41.55,-61.35,-40.95,-60.75), (-38.175,-55.875,-37.575,-55.275), (-38.175,-54.375,-37.575,-53.775), (-41.55,-5.85,-40.95,-5.25), (-41.55,-4.35,-40.95,-3.75)])
R(pad_i_o, metal2, [(-14.4,-85.2,-9.9,-84), (13.425,-85.2,17.925,-84), (-41.85,-84.9,-40.65,-61.2), (-38.475,-84.9,-37.275,-54.225), (-38.325,-84.75,-37.425,-83.85), (-26.025,-76.5,-23.025,-72), (-26.025,-76.5,-23.025,-72), (-26.025,-76.5,-23.025,-72), (-32.925,-67.35,-31.125,-62.55), (-32.625,-67.35,-31.425,-62.55), (-32.775,-64.35,-31.275,-62.85), (-32.625,-64.2,-31.425,-62.625), (-41.85,-63.3,-40.65,-60.3), (-41.85,-62.4,-40.65,-4.35), (-38.475,-56.325,-37.275,-53.325), (-1.2,-40.8,4.8,-32.625), (1.8,-40.8,9.3,-34.8), (-16.8,-38.625,-12.3,-32.625), (-14.55,-38.625,4.8,-32.625), (-5.7,-35.625,9.3,54.075), (-41.85,-6.3,-40.65,-3.3), (-30.75,-5.85,-28.95,-1.05), (-30.45,-5.85,-29.25,-1.05), (-30.6,-5.55,-29.1,-3.825), (-23.925,-2.175,-22.125,2.325), (-23.625,-2.175,-22.425,2.325)])
A(pad_i_o, via2, -32.325, -66.75, 0.6, 0.6, 1, 3, 0, 1.5)
A(pad_i_o, via2, -30.15, -5.25, 0.6, 0.6, 1, 3, 0, 1.5)
R(pad_i_o, via2, [(-24.825,-75.3,-24.225,-74.7), (-24.825,-73.8,-24.225,-73.2), (-23.325,-0.975,-22.725,-0.375), (-23.325,0.525,-22.725,1.125)])
R(pad_i_o, metal3, [(-46.05,-76.5,-24.525,-72), (-26.025,-76.5,-23.025,-72), (-24.525,-76.5,49.725,-72), (-46.95,-76.2,-45.15,-64.05), (-46.95,-76.2,-45.15,-47.85), (48.825,-76.2,50.625,-64.05), (-46.95,-76.125,-45.15,-73.35), (48.825,-76.125,50.625,-73.35), (-46.05,-67.35,-32.025,-62.55), (-32.925,-67.35,-31.125,-62.55), (-46.875,-21.225,-45.075,6.825), (-46.875,-21.075,-45.075,-2.55), (-46.875,-21.075,-45.075,0.975), (48.6,-21.075,50.4,0.975), (-45.975,-5.85,-29.85,-1.05), (-30.75,-5.85,-28.95,-1.05), (-45.975,-2.175,-23.025,2.325), (-23.925,-2.175,-22.125,2.325), (-23.025,-2.175,49.5,2.325)])
pad_i_o.add(gdstk.Reference(pad_analog, (1.2,55.275)))

lib.write_gds('Pad_I_O.gds')
